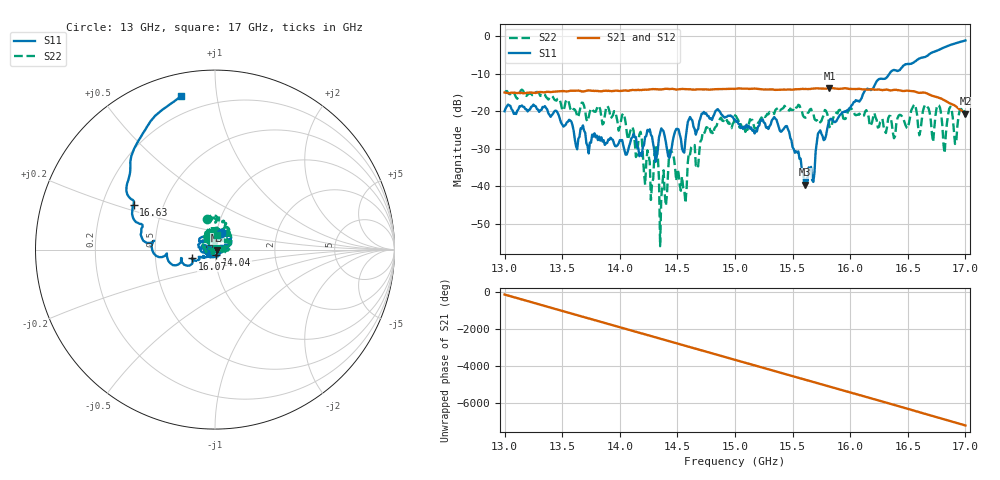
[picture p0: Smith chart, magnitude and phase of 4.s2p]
!Keysight Technologies,P9374A,MY57211807,A.19.30.04
!Date: Friday, May 01, 2026 14:43:05
!Correction: S11(C  2-Port  )
!S21(C  2-Port  )
!S12(C  2-Port  )
!S22(C  2-Port  )
!S2P File: Measurements: S11, S21, S12, S22:
# Hz S  RI  R 50
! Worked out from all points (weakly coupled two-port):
!   401 points, 13 GHz to 17 GHz, reference 50 ohm
!   highest |S21| = -13.85 dB at 15.82 GHz (marker M1); lowest = -20.7 dB at 17 GHz (marker M2)
!   lowest |S11| = -39.6 dB at 15.61 GHz (marker M3), VSWR 1.02, Z = 50.9 - j0.502 ohm
!   |S11| at or under -10 dB: start of sweep to 16.34 GHz
!   |S22| runs from -56.0 to -14.3 dB; largest |S21 - S12| = 0.0049
!   S11 on the Smith chart (normalised r, x): 13 GHz: 1.05, +0.20; 14.04 GHz: 1.01, -0.06; 16.07 GHz: 0.77, -0.08; 16.63 GHz: 0.34, +0.23; 17 GHz: 0.11, +0.80
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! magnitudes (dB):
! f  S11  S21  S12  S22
! 13 GHz  -20.0  -15.0  -15.0  -15.2
! 13.67 GHz  -24.6  -14.8  -14.7  -17.7
! 14.04 GHz  -30.3  -14.5  -14.5  -21.4
! 14.27 GHz  -26.3  -14.2  -14.2  -43.7
! 14.32 GHz  -32.2  -14.2  -14.2  -30.5
! 14.34 GHz  -27.1  -14.2  -14.2  -38.0
! 14.37 GHz  -25.0  -14.2  -14.1  -39.4
! 14.45 GHz  -29.9  -14.1  -14.1  -30.8
! 14.56 GHz  -31.1  -14.1  -14.1  -41.1
! 14.62 GHz  -22.2  -14.2  -14.2  -29.6
! 15 GHz  -22.3  -14.1  -14.0  -21.1
! 15.45 GHz  -24.0  -14.3  -14.2  -19.1
! 15.61 GHz  -39.6  -14.1  -14.1  -21.8
! 15.67 GHz  -38.4  -14.0  -14.0  -20.3
! 15.73 GHz  -25.6  -14.0  -14.0  -22.5
! 15.82 GHz  -22.4  -13.8  -13.8  -24.3
! 16.07 GHz  -17.3  -14.1  -14.0  -21.0
! 16.34 GHz  -10.0  -14.4  -14.4  -21.2
! 16.63 GHz  -5.7  -15.0  -15.0  -20.1
! 16.77 GHz  -3.7  -16.4  -16.4  -18.5
! 16.82 GHz  -3.0  -17.1  -17.1  -31.2
! 17 GHz  -1.2  -20.7  -20.7  -21.6
